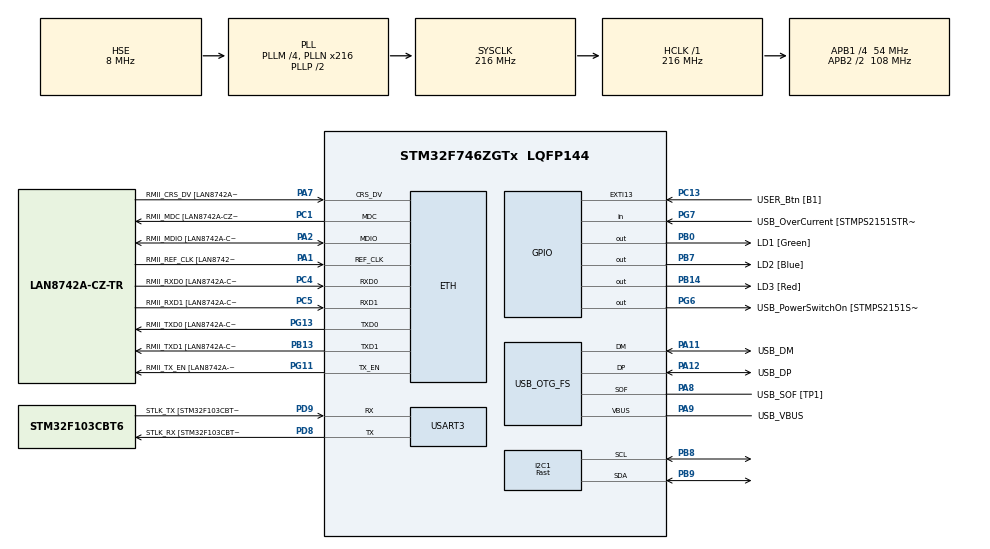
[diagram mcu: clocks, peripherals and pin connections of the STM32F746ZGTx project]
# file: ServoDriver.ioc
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Mcu.Family=STM32F7
NVIC.USART3_IRQn=true\:0\:0\:false\:false\:true\:true\:true
RCC.CortexFreq_Value=216000000
PG6.Signal=GPIO_Output
I2C1.I2C_Speed_Mode=I2C_Fast
PB14.GPIO_Label=LD3 [Red]
PG6.GPIO_Label=USB_PowerSwitchOn [STMPS2151STR_EN]
PA14.GPIO_Label=TCK
RCC.SYSCLKSourceVirtual=RCC_SYSCLKSOURCE_PLLCLK
PA11.Mode=Device_Only
PB0.GPIO_Label=LD1 [Green]
PC14/OSC32_IN.Mode=LSE-External-Oscillator
PC5.Mode=RMII
PC13.GPIO_Label=USER_Btn [B1]
PB13.GPIO_Label=RMII_TXD1 [LAN8742A-CZ-TR_TXD1]
PB13.Signal=ETH_TXD1
PG13.Signal=ETH_TXD0
PD9.Mode=Asynchronous
PG11.Signal=ETH_TX_EN
RCC.SYSCLKSource=RCC_SYSCLKSOURCE_PLLCLK
ProjectManager.StackSize=0x400
USART3.VirtualMode-Asynchronous=VM_ASYNC
PA12.Signal=USB_OTG_FS_DP
ETH.PHY_Value=0
PH0/OSC_IN.Mode=HSE-External-Clock-Source
RCC.HCLKFreq_Value=216000000
RCC.APB2TimFreq_Value=216000000
PH1/OSC_OUT.Signal=RCC_OSC_OUT
PD8.Signal=USART3_TX
RCC.AHBFreq_Value=216000000
RCC.HSE_VALUE=8000000
RCC.PLLMUL=RCC_PLL_MUL9
PC4.GPIO_Label=RMII_RXD0 [LAN8742A-CZ-TR_RXD0]
PA14.Mode=Serial_Wire
PA10.GPIO_Label=USB_ID
PB7.Signal=GPIO_Output
PA8.Signal=USB_OTG_FS_SOF
PG13.Mode=RMII
ETH.PHY_Name=LAN8742A_PHY_ADDRESS
PH1/OSC_OUT.Mode=HSE-External-Clock-Source
PB7.GPIO_Label=LD2 [Blue]
PB9.Signal=I2C1_SDA
Mcu.Package=LQFP144
PC14/OSC32_IN.Signal=RCC_OSC32_IN
PA2.GPIO_Label=RMII_MDIO [LAN8742A-CZ-TR_MDIO]
PA10.Signal=USB_OTG_FS_ID
USB_OTG_FS.VirtualMode=Device_Only
RCC.APB2CLKDivider=RCC_HCLK_DIV2
RCC.APB1TimFreq_Value=108000000
PG11.GPIO_Label=RMII_TX_EN [LAN8742A-CZ-TR_TXEN]
PC5.Signal=ETH_RXD1
PB13.Mode=RMII
PC4.Mode=RMII
PB3.GPIO_Label=SW0
PA7.Mode=RMII
PG7.Signal=GPIO_Input
PD9.GPIO_Label=STLK_TX [STM32F103CBT6_PA2]
PC13.Signal=GPXTI13
PA9.GPIO_Label=USB_VBUS
PC4.Signal=ETH_RXD0
PA11.GPIO_Label=USB_DM
PD9.Signal=USART3_RX
RCC.APB1CLKDivider=RCC_HCLK_DIV4
PG13.GPIO_Label=RMII_TXD0 [LAN8742A-CZ-TR_TXD0]
ETH.PhyAddress=0
PA12.GPIO_Label=USB_DP
PD8.GPIO_Label=STLK_RX [STM32F103CBT6_PA3]
PA13.Signal=SYS_JTMS-SWDIO
PA9.Mode=Activate_VBUS
PA8.GPIO_Label=USB_SOF [TP1]
ProjectManager.TargetToolchain=STM32CubeIDE
PB9.Mode=I2C
PA9.Signal=USB_OTG_FS_VBUS
I2C1.Timing=0x6000030D
RCC.USBFreq_Value=48000000
PD8.Mode=Asynchronous
PA1.Signal=ETH_REF_CLK
PB14.Signal=GPIO_Output
board=NUCLEO-F746ZG
RCC.VCOOutputFreq_Value=432000000
PH0/OSC_IN.Signal=RCC_OSC_IN
RCC.APB2Freq_Value=108000000
PA1.Mode=RMII
RCC.PRESCALERUSB=RCC_USBCLKSOURCE_PLL_DIV1_5
PG7.GPIO_Label=USB_OverCurrent [STMPS2151STR_FAULT]
PA1.GPIO_Label=RMII_REF_CLK [LAN8742A-CZ-TR_REFCLK0]
PC1.GPIO_Label=RMII_MDC [LAN8742A-CZ-TR_MDC]
PA13.Mode=Serial_Wire
Mcu.Name=STM32F746ZGTx
PA2.Signal=ETH_MDIO
PA13.GPIO_Label=TMS
RCC.48MHZClocksFreq_Value=24000000
PB3.Signal=SYS_JTDO-SWO
RCC.SYSCLKFreq_VALUE=216000000
ETH.MediaInterface=ETH_MEDIA_INTERFACE_RMII
PA7.GPIO_Label=RMII_CRS_DV [LAN8742A-CZ-TR_CRS_DV]
PA12.Mode=Device_Only
PC5.GPIO_Label=RMII_RXD1 [LAN8742A-CZ-TR_RXD1]
PC15/OSC32_OUT.Mode=LSE-External-Oscillator
PG11.Mode=RMII
PA11.Signal=USB_OTG_FS_DM
PA14.Signal=SYS_JTCK-SWCLK
ProjectManager.HeapSize=0x200
RCC.HSI_VALUE=16000000
PH0/OSC_IN.GPIO_Label=MCO [STM32F103CBT6_PA8]
RCC.PLLQ=9
NVIC.PriorityGroup=NVIC_PRIORITYGROUP_4
RCC.PLLM=4
PB8.Mode=I2C
RCC.PLLN=216
PA2.Mode=RMII
PB8.Signal=I2C1_SCL
PC15/OSC32_OUT.Signal=RCC_OSC32_OUT
PA8.Mode=Activate_SOF_FS
RCC.APB1Freq_Value=54000000
PB0.Signal=GPIO_Output
PC1.Signal=ETH_MDC
PC1.Mode=RMII
PA7.Signal=ETH_CRS_DV

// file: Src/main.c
/* USER CODE BEGIN Header */
/**
  ******************************************************************************
  * @file           : main.c
  * @brief          : Main program body
  ******************************************************************************
  * @attention
  *
  * <h2><center>&copy; Copyright (c) 2020 STMicroelectronics.
  * All rights reserved.</center></h2>
  *
  * This software component is licensed by ST under BSD 3-Clause license,
  * the "License"; You may not use this file except in compliance with the
  * License. You may obtain a copy of the License at:
  *                        opensource.org/licenses/BSD-3-Clause
  *
  ******************************************************************************
  */
/* USER CODE END Header */

#include "main.h"
#include "eth.h"
#include "i2c.h"
#include "usart.h"
#include "usb_otg.h"
#include "gpio.h"

/* USER CODE BEGIN Includes */
#include "printf-stdarg.h"
#include "pca9685.h"
/* USER CODE END Includes */

/* USER CODE BEGIN PV */
HAL_StatusTypeDef  status;
/* USER CODE END PV */

void SystemClock_Config(void);

int main(void)
{

  /* MCU Configuration--------------------------------------------------------*/

  /* Reset of all peripherals, Initializes the Flash interface and the Systick. */
  HAL_Init();

  /* Configure the system clock */
  SystemClock_Config();

  /* Initialize all configured peripherals */
  MX_GPIO_Init();
  MX_ETH_Init();
  MX_I2C1_Init();
  MX_USART3_UART_Init();
  MX_USB_OTG_FS_PCD_Init();
  /* USER CODE BEGIN 2 */
  pca9685_t servoDriver = {0};
  status = pca9685_init(&servoDriver, &hi2c1, PCA9685_DEFAULT_ADDRESS);
  if(status == HAL_OK)
	  printf("%s\r\n","SERVO DRIVER OK");
  else
	  printf("%s\r\n","SERVO DRIVER BAD");

  status = pca9685_load(&servoDriver);

  uint8_t servo = 7;
  uint8_t prescale = 0;
  status = HAL_I2C_Mem_Read(&hi2c1, servoDriver.address, PCA9685_PRE_SCALE, I2C_MEMADD_SIZE_8BIT, &prescale, 1, 100);
  /* USER CODE END 2 */
  printf("ServoDriver.MODE1 = %d\r\n", servoDriver.MODE1);
  printf("ServoDriver.PRE_SCALE = %d\r\n", prescale);
  /* Infinite loop */
  while (1)
  {

    /* USER CODE BEGIN 3 */
	  //status = pca9685_servo(&servoDriver,  0,  85);
	  //HAL_Delay(1000);
	  //status = pca9685_servo(&servoDriver,  0,  90);
	  //HAL_Delay(1000);
	  //status = pca9685_servo(&servoDriver,  0,  95);
	  //HAL_Delay(1000);
//	  for(servo=0; servo<16;servo++) {
//		  printf("Spinning servo %d\r\n", servo);
//		  pca9685_pwm(&servoDriver, servo, 0, 275);
//		  HAL_Delay(200);
//		  pca9685_pwm(&servoDriver, servo, 0, 375);
//		  HAL_Delay(200);
//		  pca9685_pwm(&servoDriver, servo, 0, 475);
//		  HAL_Delay(200);
//		  printf("Stopping servo %d\r\n", servo);
//		  pca9685_pwm(&servoDriver, servo, 0, 0);
//	  }
	  for(int i=PCA9685_OFF_MIN; i<=PCA9685_OFF_MAX; i+=5){
		  printf("Servo %d OFF %d\n", servo, i);
		  pca9685_pwm(&servoDriver, servo, 0, i);
		  HAL_Delay(200);
	  }
	  // pca9685_pwm(&servoDriver, servo, 0, 0);
	  HAL_GPIO_TogglePin(LD2_GPIO_Port, LD2_Pin);
	  HAL_Delay(5000);
  }
  /* USER CODE END 3 */
}

void SystemClock_Config(void)
{
  RCC_OscInitTypeDef RCC_OscInitStruct = {0};
  RCC_ClkInitTypeDef RCC_ClkInitStruct = {0};
  RCC_PeriphCLKInitTypeDef PeriphClkInitStruct = {0};

  /** Configure LSE Drive Capability
  */
  HAL_PWR_EnableBkUpAccess();
  /** Configure the main internal regulator output voltage
  */
  __HAL_RCC_PWR_CLK_ENABLE();
  __HAL_PWR_VOLTAGESCALING_CONFIG(PWR_REGULATOR_VOLTAGE_SCALE1);
  /** Initializes the CPU, AHB and APB busses clocks
  */
  RCC_OscInitStruct.OscillatorType = RCC_OSCILLATORTYPE_HSE;
  RCC_OscInitStruct.HSEState = RCC_HSE_BYPASS;
  RCC_OscInitStruct.PLL.PLLState = RCC_PLL_ON;
  RCC_OscInitStruct.PLL.PLLSource = RCC_PLLSOURCE_HSE;
  RCC_OscInitStruct.PLL.PLLM = 4;
  RCC_OscInitStruct.PLL.PLLN = 216;
  RCC_OscInitStruct.PLL.PLLP = RCC_PLLP_DIV2;
  RCC_OscInitStruct.PLL.PLLQ = 9;
  if (HAL_RCC_OscConfig(&RCC_OscInitStruct) != HAL_OK)
  {
    Error_Handler();
  }
  /** Activate the Over-Drive mode
  */
  if (HAL_PWREx_EnableOverDrive() != HAL_OK)
  {
    Error_Handler();
  }
  /** Initializes the CPU, AHB and APB busses clocks
  */
  RCC_ClkInitStruct.ClockType = RCC_CLOCKTYPE_HCLK|RCC_CLOCKTYPE_SYSCLK
                              |RCC_CLOCKTYPE_PCLK1|RCC_CLOCKTYPE_PCLK2;
  RCC_ClkInitStruct.SYSCLKSource = RCC_SYSCLKSOURCE_PLLCLK;
  RCC_ClkInitStruct.AHBCLKDivider = RCC_SYSCLK_DIV1;
  RCC_ClkInitStruct.APB1CLKDivider = RCC_HCLK_DIV4;
  RCC_ClkInitStruct.APB2CLKDivider = RCC_HCLK_DIV2;

  if (HAL_RCC_ClockConfig(&RCC_ClkInitStruct, FLASH_LATENCY_7) != HAL_OK)
  {
    Error_Handler();
  }
  PeriphClkInitStruct.PeriphClockSelection = RCC_PERIPHCLK_USART3|RCC_PERIPHCLK_I2C1
                              |RCC_PERIPHCLK_CLK48;
  PeriphClkInitStruct.Usart3ClockSelection = RCC_USART3CLKSOURCE_PCLK1;
  PeriphClkInitStruct.I2c1ClockSelection = RCC_I2C1CLKSOURCE_PCLK1;
  PeriphClkInitStruct.Clk48ClockSelection = RCC_CLK48SOURCE_PLL;
  if (HAL_RCCEx_PeriphCLKConfig(&PeriphClkInitStruct) != HAL_OK)
  {
    Error_Handler();
  }
}

void Error_Handler(void)
{
}

/************************ (C) COPYRIGHT STMicroelectronics *****END OF FILE****/
